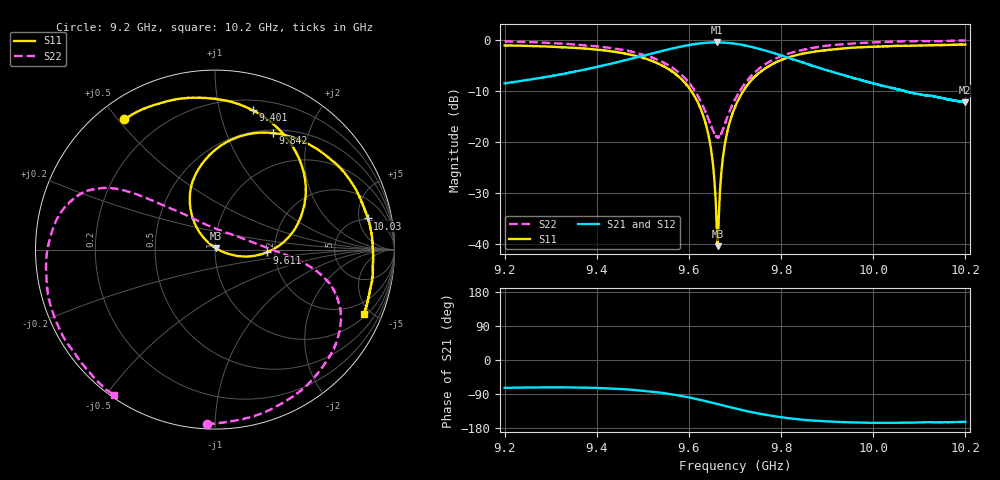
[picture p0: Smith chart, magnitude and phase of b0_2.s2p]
!Agilent Technologies,N5242A,MY51221714,A.09.90.19
!Agilent N5242A: A.09.90.19
!Date: Saturday, December 30, 2023 10:18:14
!Correction: S11(Full 2 Port(1,2))
!S21(Full 2 Port(1,2))
!S12(Full 2 Port(1,2))
!S22(Full 2 Port(1,2))
!S2P File: Measurements: S11, S21, S12, S22:
# Hz S  dB  R 50
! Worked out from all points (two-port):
!   16001 points, 9.2 GHz to 10.2 GHz, reference 50 ohm
!   highest |S21| = -0.46 dB at 9.661 GHz (marker M1); lowest = -12.2 dB at 10.2 GHz (marker M2)
!   |S21| within 3 dB of the highest: 9.484 GHz to 9.815 GHz (331.1 MHz wide, 3.43 % of centre)
!   lowest |S11| = -40.5 dB at 9.662 GHz (marker M3), VSWR 1.02, Z = 50.5 + j0.818 ohm
!   |S11| at or under -10 dB: 9.605 GHz to 9.718 GHz (113.1 MHz wide, 1.17 % of centre)
!   |S22| runs from -19.2 to -0.1 dB; largest |S21 - S12| = 0.014
!   S11 on the Smith chart (normalised r, x): 9.2 GHz: 0.08, +0.52; 9.401 GHz: 0.29, +1.27; 9.611 GHz: 1.80, -0.06; 9.842 GHz: 0.54, +1.47; 10.03 GHz: 4.69, +6.59; 10.2 GHz: 1.17, -4.58
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9.2e9  -1.08 124.8  -8.51 -73.5  -8.49 -74.2  -0.24 -92.7
9.366688e9  -1.62 84.3  -5.95 -72.8  -5.93 -73.5  -1.00 -49.0
9.40075e9  -1.89 74.9  -5.27 -73.9  -5.25 -74.6  -1.25 -40.7
9.466688e9  -2.75 54.8  -3.85 -77.6  -3.85 -78.4  -2.13 -26.5
9.533375e9  -4.63 30.7  -2.34 -85.4  -2.33 -86.0  -3.95 -14.7
9.610875e9  -10.82 -3.2  -0.82 -101.5  -0.82 -102.2  -9.73 -0.6
9.644375e9  -19.59 -17.0  -0.51 -110.9  -0.51 -111.6  -16.00 24.7
9.6525e9  -24.69 -17.2  -0.48 -113.4  -0.47 -114.0  -17.84 39.8
9.660688e9  -37.64 12.2  -0.46 -115.8  -0.46 -116.4  -19.00 62.7
9.662188e9  -40.48 58.9  -0.47 -116.2  -0.46 -116.9  -19.12 67.3
9.665e9  -34.35 119.0  -0.47 -117.1  -0.47 -117.7  -19.03 76.7
9.671e9  -25.39 133.4  -0.49 -118.9  -0.48 -119.6  -18.18 94.7
9.677562e9  -20.73 133.8  -0.52 -120.9  -0.51 -121.5  -16.62 109.5
9.7e9  -13.21 124.7  -0.73 -127.6  -0.70 -128.3  -11.67 130.9
9.752125e9  -6.48 99.6  -1.75 -141.4  -1.73 -142.2  -5.66 144.5
9.841688e9  -2.80 63.7  -4.25 -157.0  -4.24 -157.6  -2.03 155.8
9.866688e9  -2.37 55.3  -5.00 -159.7  -5.00 -160.4  -1.58 159.7
9.949938e9  -1.55 31.4  -7.28 -164.6  -7.28 -165.2  -0.73 175.6
1.003156e10  -1.23 11.6  -9.24 -165.7  -9.23 -166.5  -0.35 -166.4
1.003338e10  -1.22 11.1  -9.28 -165.7  -9.27 -166.5  -0.35 -166.0
1.019962e10  -0.89 -23.1  -12.25 -163.1  -12.23 -164.0  -0.11 -125.0
1.02e10  -0.88 -23.2  -12.24 -163.2  -12.24 -163.9  -0.10 -124.8
